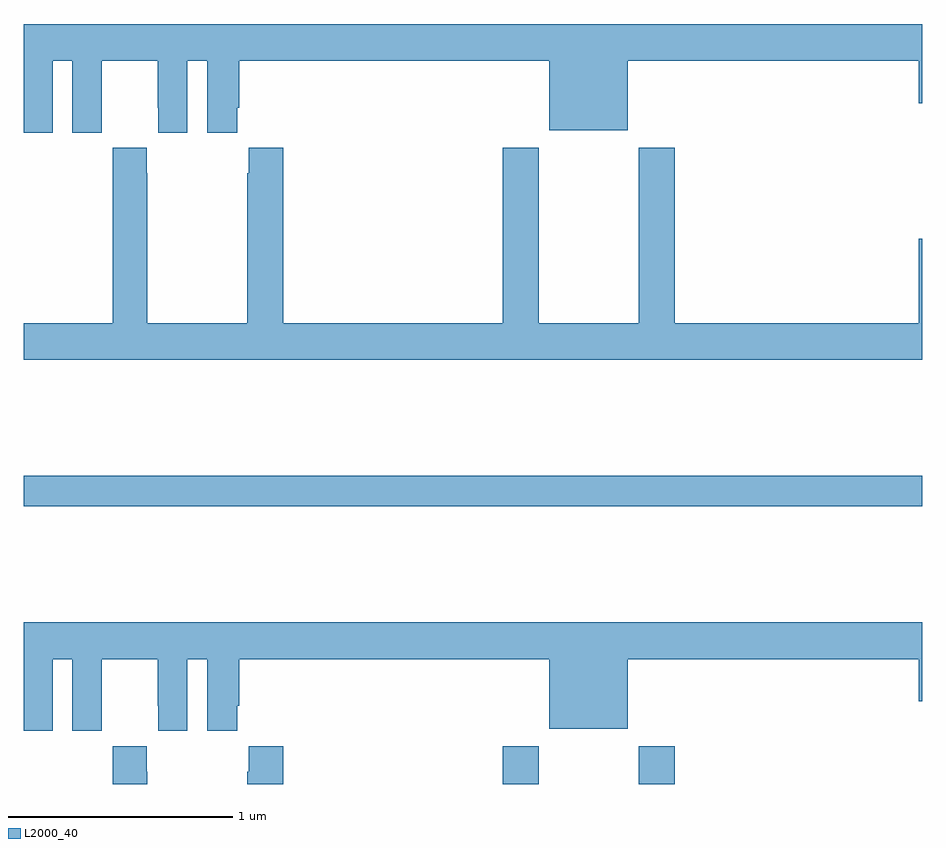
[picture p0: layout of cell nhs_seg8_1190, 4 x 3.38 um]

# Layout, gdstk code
import gdstk
lib = gdstk.Library(unit=1e-6, precision=1e-09)
def R(c, l, rs):  # rectangles x0, y0, x1, y1
    for r in rs: c.add(gdstk.rectangle(r[:2], r[2:], *l))
def P(c, l, *ps):  # polygons
    for p in ps: c.add(gdstk.Polygon(p, *l))
L2000_40 = (2000, 40)

nhs_seg8_1190 = lib.new_cell('nhs_seg8_1190')
R(nhs_seg8_1190, L2000_40, [(187.133,1159.9,187.293,1160.068), (187.738,1159.9,187.898,1160.068), (185,1161.136,189,1161.272)])
P(nhs_seg8_1190, L2000_40, [(185.128,1163.12),(185.216,1163.12),(185.216,1162.8),(185.346,1162.8),(185.346,1162.912),(185.347,1162.912),(185.347,1163.12),(185.597,1163.12),(185.597,1162.912),(185.598,1162.912),(185.598,1162.8),(185.728,1162.8),(185.728,1163.12),(185.816,1163.12),(185.816,1162.8),(185.95,1162.8),(185.95,1162.912),(185.96,1162.912),(185.96,1163.12),(187.34,1163.12),(187.34,1162.811),(187.69,1162.811),(187.69,1163.12),(188.984,1163.12),(188.984,1162.932),(189,1162.932),(189,1163.284),(185,1163.284),(185,1162.8),(185.128,1162.8)],
  [(189,1162.327),(188.984,1162.327),(188.984,1161.952),(187.898,1161.952),(187.898,1162.732),(187.738,1162.732),(187.738,1161.952),(187.293,1161.952),(187.293,1162.732),(187.133,1162.732),(187.133,1161.952),(186.155,1161.952),(186.155,1162.732),(186.001,1162.732),(186.001,1162.619),(185.995,1162.619),(185.995,1161.952),(185.55,1161.952),(185.55,1162.619),(185.547,1162.619),(185.547,1162.732),(185.397,1162.732),(185.397,1162.619),(185.395,1162.619),(185.395,1161.952),(185,1161.952),(185,1161.788),(189,1161.788)],
  [(185.128,1160.456),(185.216,1160.456),(185.216,1160.136),(185.346,1160.136),(185.346,1160.248),(185.347,1160.248),(185.347,1160.456),(185.597,1160.456),(185.597,1160.248),(185.598,1160.248),(185.598,1160.136),(185.728,1160.136),(185.728,1160.456),(185.816,1160.456),(185.816,1160.136),(185.95,1160.136),(185.95,1160.248),(185.96,1160.248),(185.96,1160.456),(187.34,1160.456),(187.34,1160.147),(187.69,1160.147),(187.69,1160.456),(188.984,1160.456),(188.984,1160.268),(189,1160.268),(189,1160.62),(185,1160.62),(185,1160.136),(185.128,1160.136)],
  [(186.155,1160.068),(186.001,1160.068),(186.001,1159.955),(185.995,1159.955),(185.995,1159.9),(186.155,1159.9)],
  [(185.55,1159.955),(185.547,1159.955),(185.547,1160.068),(185.397,1160.068),(185.397,1159.955),(185.395,1159.955),(185.395,1159.9),(185.55,1159.9)])

lib.write_gds('nhs_seg8_1190.gds')
